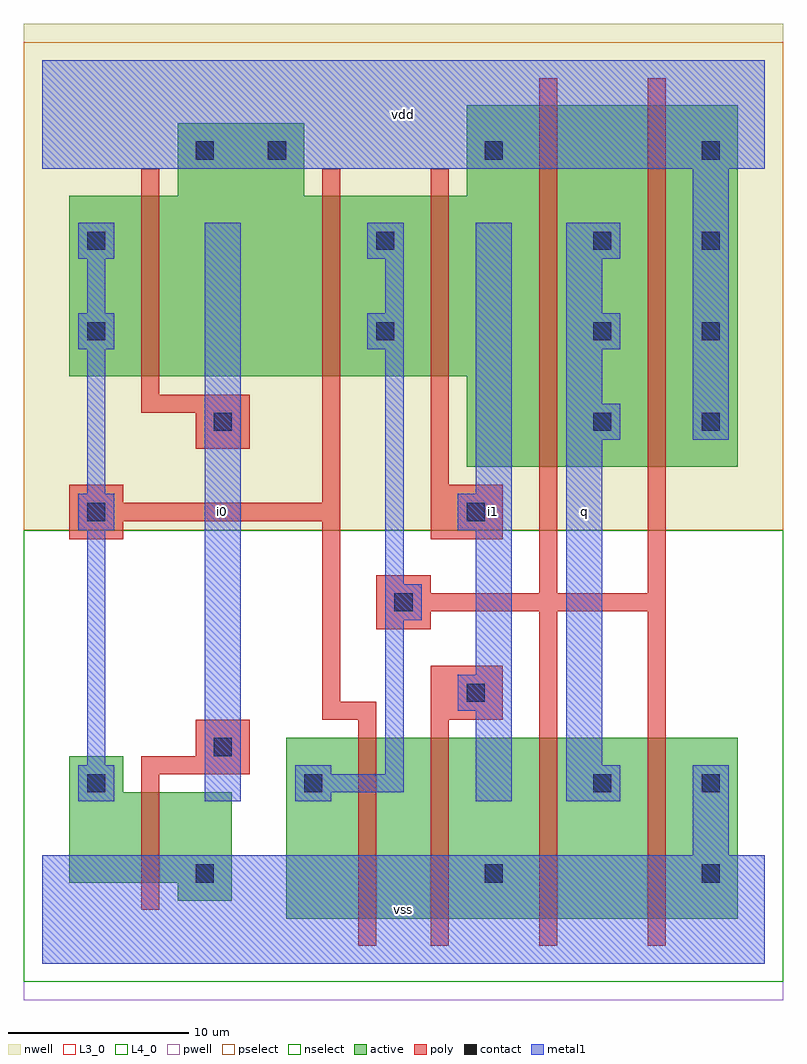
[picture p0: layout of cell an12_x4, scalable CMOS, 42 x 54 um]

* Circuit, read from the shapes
.subckt an12_x4 i0 i1 q vdd vss
M1 vss i0 n1 VSUBS nfet w=5u l=1u
M2 n2 n1 n3 VSUBS nfet w=10u l=1u
M3 vss i1 n2 VSUBS nfet w=10u l=1u
M4 q n3 vss VSUBS nfet w=10u l=1u m=2
M5 vdd i0 n1 n4 pfet w=10u l=1u
M6 n3 n1 vdd n4 pfet w=10u l=1u
M7 vdd i1 n3 n4 pfet w=10u l=1u
M8 q n3 vdd n4 pfet w=20u l=1u m=2
.ends

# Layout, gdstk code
import gdstk
lib = gdstk.Library(unit=1e-6, precision=1e-09)
def R(c, l, rs):  # rectangles x0, y0, x1, y1
    for r in rs: c.add(gdstk.rectangle(r[:2], r[2:], *l))
def A(c, l, x, y, w, h, nx, ny, dx, dy):  # array of equal rectangles
    R(c, l, [(x+i*dx, y+j*dy, x+i*dx+w, y+j*dy+h) for i in range(nx) for j in range(ny)])
L3_0 = (3, 0)
L4_0 = (4, 0)
contact = (25, 0)
pwell = (41, 0)
nwell = (42, 0)
active = (43, 0)
pselect = (44, 0)
nselect = (45, 0)
poly = (46, 0)
metal1 = (49, 0)

an12_x4 = lib.new_cell('an12_x4')
R(an12_x4, L3_0, [(13.5,2.5,38.5,12.5), (7.5,3.5,10.5,4.5), (1.5,4.5,10.5,9.5), (1.5,9.5,4.5,11.5)])
R(an12_x4, L4_0, [(23.5,27.5,38.5,32.5), (1.5,32.5,38.5,42.5), (7.5,42.5,14.5,46.5), (23.5,42.5,38.5,47.5)])
A(an12_x4, contact, 30.5, 29.5, 1, 1, 1, 3, 0, 5)
A(an12_x4, contact, 36.5, 29.5, 1, 1, 1, 3, 0, 5)
A(an12_x4, contact, 12.5, 44.5, 1, 1, 3, 1, 12, 0)
R(an12_x4, contact, [(8.5,4.5,9.5,5.5), (24.5,4.5,25.5,5.5), (36.5,4.5,37.5,5.5), (2.5,9.5,3.5,10.5), (14.5,9.5,15.5,10.5), (30.5,9.5,31.5,10.5), (36.5,9.5,37.5,10.5), (9.5,11.5,10.5,12.5), (23.5,14.5,24.5,15.5), (19.5,19.5,20.5,20.5), (2.5,24.5,3.5,25.5), (23.5,24.5,24.5,25.5), (9.5,29.5,10.5,30.5), (2.5,34.5,3.5,35.5), (18.5,34.5,19.5,35.5), (2.5,39.5,3.5,40.5), (18.5,39.5,19.5,40.5), (8.5,44.5,9.5,45.5)])
R(an12_x4, pwell, [(-1,-2,41,24)])
R(an12_x4, nwell, [(-1,24,41,52)])
R(an12_x4, active, [(13.5,2.5,38.5,12.5), (7.5,3.5,10.5,4.5), (1.5,4.5,10.5,9.5), (1.5,9.5,4.5,11.5), (23.5,27.5,38.5,32.5), (1.5,32.5,38.5,42.5), (7.5,42.5,14.5,46.5), (23.5,42.5,38.5,47.5)])
R(an12_x4, pselect, [(-1,24,41,51)])
R(an12_x4, nselect, [(-1,-1,41,24)])
R(an12_x4, poly, [(17.5,1,18.5,13.5), (21.5,1,22.5,13.5), (27.5,1,28.5,19.5), (33.5,1,34.5,19.5), (5.5,3,6.5,10.5), (5.5,10.5,11.5,11.5), (8.5,11.5,11.5,13.5), (15.5,13.5,18.5,14.5), (21.5,13.5,25.5,16.5), (15.5,14.5,16.5,24.5), (18.5,18.5,21.5,19.5), (18.5,19.5,34.5,20.5), (18.5,20.5,21.5,21.5), (27.5,20.5,28.5,49), (33.5,20.5,34.5,49), (1.5,23.5,4.5,24.5), (21.5,23.5,25.5,26.5), (1.5,24.5,16.5,25.5), (1.5,25.5,4.5,26.5), (15.5,25.5,16.5,44), (21.5,26.5,22.5,44), (8.5,28.5,11.5,30.5), (5.5,30.5,11.5,31.5), (5.5,31.5,6.5,44)])
A(an12_x4, metal1, 29, 29, 3, 2, 1, 3, 0, 5)
R(an12_x4, metal1, [(0,0,40,6), (36,6,38,11), (2,9,4,11), (9,9,11,41), (14,9,16,9.5), (24,9,26,14), (29,9,32,11), (14,9.5,20,10.5), (14,10.5,16,11), (19,10.5,20,19), (2.5,11,3.5,24), (29,11,31,29), (23,14,26,16), (24,16,26,24), (19,19,21,21), (19,21,20,34), (2,24,4,26), (23,24,26,26), (2.5,26,3.5,34), (24,26,26,41), (36,29,38,44), (29,31,31,34), (2,34,4,36), (18,34,20,36), (2.5,36,3.5,39), (19,36,20,39), (29,36,31,39), (2,39,4,41), (18,39,20,41), (0,44,40,50)])
an12_x4.add(gdstk.Label('i0', (10,25), layer=49, texttype=0))
an12_x4.add(gdstk.Label('vss', (20,3), layer=49, texttype=0))
an12_x4.add(gdstk.Label('i1', (25,25), layer=49, texttype=0))
an12_x4.add(gdstk.Label('vdd', (20,47), layer=49, texttype=0))
an12_x4.add(gdstk.Label('q', (30,25), layer=49, texttype=0))

lib.write_gds('an12_x4.gds')
